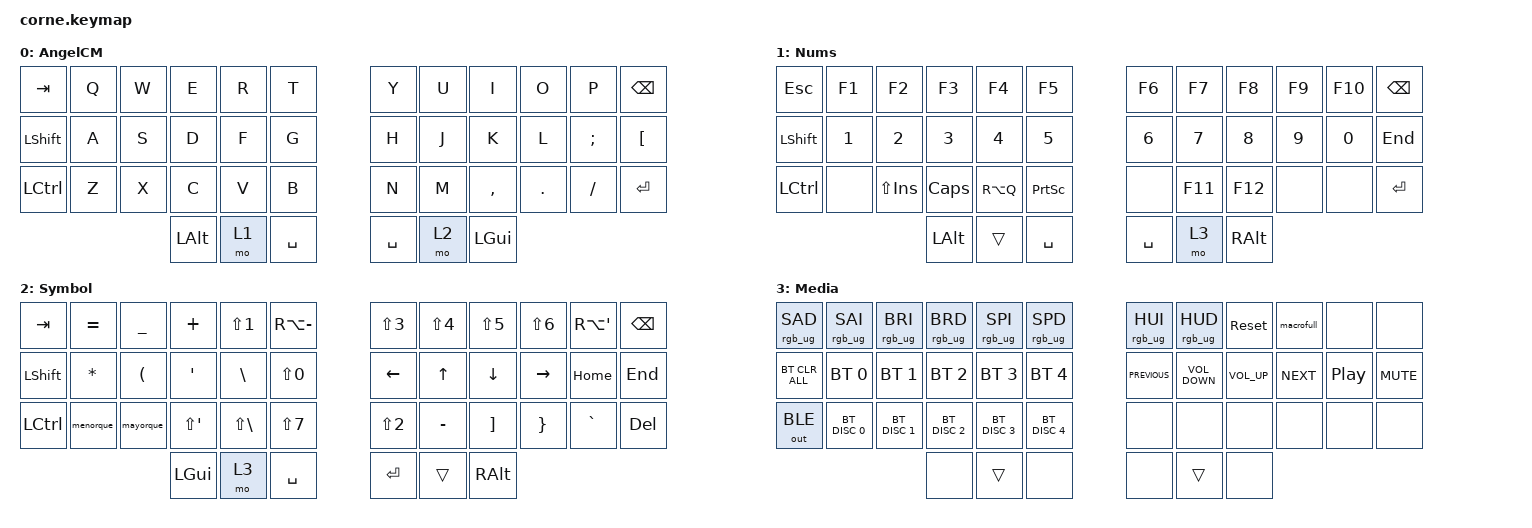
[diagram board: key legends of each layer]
/*
 * Copyright (c) 2020 The ZMK Contributors
 *
 * SPDX-License-Identifier: MIT
 */

#include <dt-bindings/led/led.h>
#include <behaviors.dtsi>
#include <dt-bindings/zmk/bt.h>
#include <dt-bindings/zmk/keys.h>
#include <dt-bindings/zmk/outputs.h>
#include <dt-bindings/zmk/rgb.h>

/ {
    macros {
        mayorque: mayorque {
            compatible = "zmk,behavior-macro";
            #binding-cells = <0>;
            bindings = <&kp RA(KP_NUMBER_6) &kp RA(KP_NUMBER_2)>;
            label = "MAYORQUE";
        };

        menorque: menorque {
            compatible = "zmk,behavior-macro";
            #binding-cells = <0>;
            bindings = <&kp RA(KP_NUMBER_6) &kp RA(KP_NUMBER_0)>;
            label = "MENORQUE";
        };

        macrofull: macrofull {
            compatible = "zmk,behavior-macro";
            #binding-cells = <0>;
            bindings = <&kp RA(GT) &kp RA(BSLH) &kp RA(TILDE) &kp RA(CARET) &kp RA(GRAVE)>;
            label = "macrofull";
        };
    };

    keymap {
        compatible = "zmk,keymap";

        AngelCM {
            // -----------------------------------------------------------------------------------------
            // |  TAB |  Q  |  W  |  E  |  R  |  T  |   |  Y  |  U   |  I  |  O  |  P  | BKSP |
            // | CTRL |  A  |  S  |  D  |  F  |  G  |   |  H  |  J   |  K  |  L  |  ;  |  '   |
            // | SHFT |  Z  |  X  |  C  |  V  |  B  |   |  N  |  M   |  ,  |  .  |  /  | ESC  |
            //                    | GUI | LWR | SPC |   | ENT | RSE  | ALT |

            bindings = <
&kp TAB           &kp Q  &kp W  &kp E         &kp R  &kp T        &kp Y      &kp U  &kp I         &kp O    &kp P      &kp BSPC
&kp LEFT_SHIFT    &kp A  &kp S  &kp D         &kp F  &kp G        &kp H      &kp J  &kp K         &kp L    &kp SEMI   &kp LEFT_BRACKET
&kp LEFT_CONTROL  &kp Z  &kp X  &kp C         &kp V  &kp B        &kp N      &kp M  &kp COMMA     &kp DOT  &kp SLASH  &kp ENTER
                                &kp LEFT_ALT  &mo 1  &kp SPACE    &kp SPACE  &mo 2  &kp LEFT_GUI
            >;

            label = "AngelCM";
        };

        Nums {
            // -----------------------------------------------------------------------------------------
            // |  TAB |  1  |  2  |  3  |  4  |  5  |   |  6  |  7  |  8  |  9  |  0  | BKSP |
            // | BTCLR| BT1 | BT2 | BT3 | BT4 | BT5 |   | LFT | DWN |  UP | RGT |     |      |
            // | SHFT |     |     |     |     |     |   |     |     |     |     |     |      |
            //                    | GUI |     | SPC |   | ENT |     | ALT |

            bindings = <
&kp ESC           &kp F1  &kp F2       &kp F3        &kp F4     &kp F5             &kp F6     &kp F7   &kp F8    &kp F9  &kp F10  &kp BSPC
&kp LEFT_SHIFT    &kp N1  &kp N2       &kp N3        &kp N4     &kp N5             &kp N6     &kp N7   &kp N8    &kp N9  &kp N0   &kp END
&kp LEFT_CONTROL  &none   &kp LS(INS)  &kp CAPS      &kp RA(Q)  &kp PRINTSCREEN    &none      &kp F11  &kp F12   &none   &none    &kp ENTER
                                       &kp LEFT_ALT  &trans     &kp SPACE          &kp SPACE  &mo 3    &kp RALT
            >;

            label = "Nums";
        };

        Symbol {
            // -----------------------------------------------------------------------------------------
            // |  TAB |  !  |  @  |  #  |  $  |  %  |   |  ^  |  &  |  *  |  (  |  )  | BKSP |
            // | CTRL |     |     |     |     |     |   |  -  |  =  |  [  |  ]  |  \  |  `   |
            // | SHFT |     |     |     |     |     |   |  _  |  +  |  {  |  }  | "|" |  ~   |
            //                    | GUI |     | SPC |   | ENT |     | ALT |

            bindings = <
&kp TAB           &kp EQUAL  &kp UNDERSCORE  &kp PLUS            &kp LS(NUMBER_1)   &kp RA(MINUS)    &kp LS(N3)      &kp LS(N4)    &kp LS(N5)         &kp LS(N6)       &kp RA(APOSTROPHE)  &kp BSPC
&kp LEFT_SHIFT    &kp ASTRK  &kp LPAR        &kp APOSTROPHE      &kp BACKSLASH      &kp LS(N0)       &kp LEFT_ARROW  &kp UP_ARROW  &kp DOWN_ARROW     &kp RIGHT_ARROW  &kp HOME            &kp END
&kp LEFT_CONTROL  &menorque  &mayorque       &kp LS(APOSTROPHE)  &kp LS(BACKSLASH)  &kp LS(N7)       &kp LS(N2)      &kp MINUS     &kp RIGHT_BRACKET  &kp RBRC         &kp GRAVE           &kp DELETE
                                             &kp LGUI            &mo 3              &kp SPACE        &kp RET         &trans        &kp RALT
            >;

            label = "Symbol";
        };

        Media {
            bindings = <
&rgb_ug RGB_SAD  &rgb_ug RGB_SAI  &rgb_ug RGB_BRI  &rgb_ug RGB_BRD  &rgb_ug RGB_SPI  &rgb_ug RGB_SPD    &rgb_ug RGB_HUI  &rgb_ug RGB_HUD    &sys_reset       &macrofull  &none             &none
&bt BT_CLR_ALL   &bt BT_SEL 0     &bt BT_SEL 1     &bt BT_SEL 2     &bt BT_SEL 3     &bt BT_SEL 4       &kp C_PREVIOUS   &kp C_VOLUME_DOWN  &kp C_VOLUME_UP  &kp C_NEXT  &kp C_PLAY_PAUSE  &kp C_MUTE
&out OUT_BLE     &bt BT_DISC 0    &bt BT_DISC 1    &bt BT_DISC 2    &bt BT_DISC 3    &bt BT_DISC 4      &none            &none              &none            &none       &none             &none
                                                   &none            &trans           &none              &none            &trans             &none
            >;

            label = "Media";
        };
    };
};
